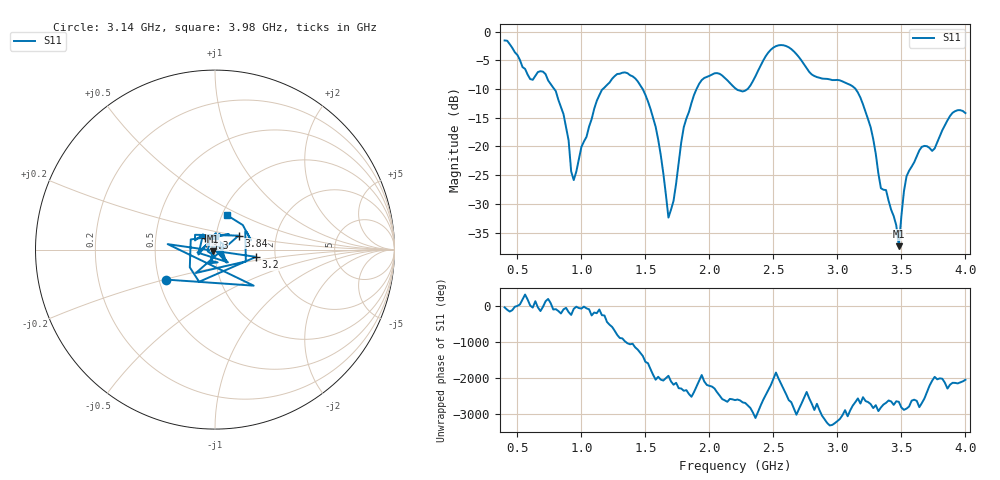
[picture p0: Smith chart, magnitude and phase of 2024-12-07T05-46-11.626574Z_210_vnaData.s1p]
!Created with skrf (http://scikit-rf.org).
# Hz S RI R 50.0
!freq ReS11 ImS11
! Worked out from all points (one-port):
!   181 points, 400 MHz to 4 GHz, reference 50 ohm
!   lowest |S11| = -37.4 dB at 3.48 GHz (marker M1), VSWR 1.03, Z = 49 - j0.893 ohm
!   |S11| at or under -10 dB: 787.4 MHz to 1.168 GHz (380.8 MHz wide, 38.9 % of centre); 1.478 GHz to 1.9 GHz (421.8 MHz wide, 25 % of centre); 3.142 GHz to end of sweep (the widest 3 of 4)
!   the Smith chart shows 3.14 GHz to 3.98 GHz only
!   S11 on the Smith chart (normalised r, x): 3.14 GHz: 0.55, -0.20; 3.2 GHz: 1.59, -0.14; 3.3 GHz: 0.89, +0.12; 3.84 GHz: 1.29, +0.20; 3.98 GHz: 1.05, +0.42
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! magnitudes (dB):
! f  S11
! 400 MHz  -1.6
! 600 MHz  -8.3
! 720 MHz  -7.4
! 860 MHz  -14.4
! 940 MHz  -25.9
! 1.12 GHz  -12.1
! 1.3 GHz  -7.4
! 1.54 GHz  -13.5
! 1.62 GHz  -21.5
! 1.68 GHz  -32.4
! 1.76 GHz  -22.8
! 1.8 GHz  -16.6
! 1.94 GHz  -8.5
! 2.2 GHz  -9.9
! 2.3 GHz  -10.0
! 2.5 GHz  -2.8
! 2.66 GHz  -3.5
! 3.1 GHz  -9.3
! 3.14 GHz  -9.9
! 3.2 GHz  -12.7
! 3.3 GHz  -21.3
! 3.34 GHz  -27.3
! 3.48 GHz  -37.4
! 3.52 GHz  -27.8
! 3.56 GHz  -24.2
! 3.84 GHz  -16.3
! 3.98 GHz  -13.8
! 4 GHz  -14.2
